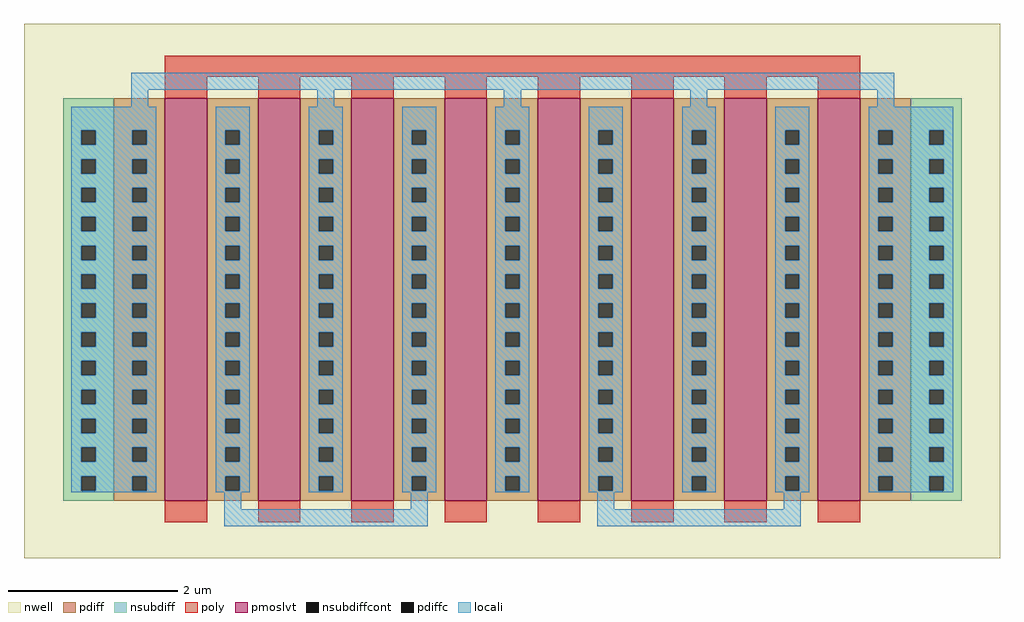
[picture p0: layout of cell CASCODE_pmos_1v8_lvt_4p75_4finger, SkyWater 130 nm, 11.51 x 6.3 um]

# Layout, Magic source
magic
tech sky130A
magscale 1 2
<< poly >>
rect -421 1107 1219 1157
<< locali >>
rect -561 127 -521 1037
rect 1319 127 1359 1037
use pmos_1v8_lvt_4p75_Lbody_4finger  pmos_1v8_lvt_4p75_Lbody_4finger_0
transform 1 0 -511 0 1 -273
box -242 245 1178 1505
use pmos_1v8_lvt_4p75_Rbody_4finger  pmos_1v8_lvt_4p75_Rbody_4finger_0
transform 1 0 369 0 1 -273
box -240 245 1180 1505
<< properties >>
string path -2.105 5.660 6.095 5.660 
<< end >>

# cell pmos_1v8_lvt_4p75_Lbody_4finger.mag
magic
tech sky130A
magscale 1 2
<< nwell >>
rect -242 245 1178 1505
<< pmoslvt >>
rect 90 380 190 1330
rect 310 380 410 1330
rect 530 380 630 1330
rect 750 380 850 1330
<< pdiff >>
rect -30 1254 90 1330
rect -30 1220 13 1254
rect 47 1220 90 1254
rect -30 1186 90 1220
rect -30 1152 13 1186
rect 47 1152 90 1186
rect -30 1118 90 1152
rect -30 1084 13 1118
rect 47 1084 90 1118
rect -30 1050 90 1084
rect -30 1016 13 1050
rect 47 1016 90 1050
rect -30 982 90 1016
rect -30 948 13 982
rect 47 948 90 982
rect -30 914 90 948
rect -30 880 13 914
rect 47 880 90 914
rect -30 846 90 880
rect -30 812 13 846
rect 47 812 90 846
rect -30 778 90 812
rect -30 744 13 778
rect 47 744 90 778
rect -30 710 90 744
rect -30 676 13 710
rect 47 676 90 710
rect -30 642 90 676
rect -30 608 13 642
rect 47 608 90 642
rect -30 574 90 608
rect -30 540 13 574
rect 47 540 90 574
rect -30 506 90 540
rect -30 472 13 506
rect 47 472 90 506
rect -30 438 90 472
rect -30 404 13 438
rect 47 404 90 438
rect -30 380 90 404
rect 190 1254 310 1330
rect 190 1220 233 1254
rect 267 1220 310 1254
rect 190 1186 310 1220
rect 190 1152 233 1186
rect 267 1152 310 1186
rect 190 1118 310 1152
rect 190 1084 233 1118
rect 267 1084 310 1118
rect 190 1050 310 1084
rect 190 1016 233 1050
rect 267 1016 310 1050
rect 190 982 310 1016
rect 190 948 233 982
rect 267 948 310 982
rect 190 914 310 948
rect 190 880 233 914
rect 267 880 310 914
rect 190 846 310 880
rect 190 812 233 846
rect 267 812 310 846
rect 190 778 310 812
rect 190 744 233 778
rect 267 744 310 778
rect 190 710 310 744
rect 190 676 233 710
rect 267 676 310 710
rect 190 642 310 676
rect 190 608 233 642
rect 267 608 310 642
rect 190 574 310 608
rect 190 540 233 574
rect 267 540 310 574
rect 190 506 310 540
rect 190 472 233 506
rect 267 472 310 506
rect 190 438 310 472
rect 190 404 233 438
rect 267 404 310 438
rect 190 380 310 404
rect 410 1254 530 1330
rect 410 1220 453 1254
rect 487 1220 530 1254
rect 410 1186 530 1220
rect 410 1152 453 1186
rect 487 1152 530 1186
rect 410 1118 530 1152
rect 410 1084 453 1118
rect 487 1084 530 1118
rect 410 1050 530 1084
rect 410 1016 453 1050
rect 487 1016 530 1050
rect 410 982 530 1016
rect 410 948 453 982
rect 487 948 530 982
rect 410 914 530 948
rect 410 880 453 914
rect 487 880 530 914
rect 410 846 530 880
rect 410 812 453 846
rect 487 812 530 846
rect 410 778 530 812
rect 410 744 453 778
rect 487 744 530 778
rect 410 710 530 744
rect 410 676 453 710
rect 487 676 530 710
rect 410 642 530 676
rect 410 608 453 642
rect 487 608 530 642
rect 410 574 530 608
rect 410 540 453 574
rect 487 540 530 574
rect 410 506 530 540
rect 410 472 453 506
rect 487 472 530 506
rect 410 438 530 472
rect 410 404 453 438
rect 487 404 530 438
rect 410 380 530 404
rect 630 1254 750 1330
rect 630 1220 673 1254
rect 707 1220 750 1254
rect 630 1186 750 1220
rect 630 1152 673 1186
rect 707 1152 750 1186
rect 630 1118 750 1152
rect 630 1084 673 1118
rect 707 1084 750 1118
rect 630 1050 750 1084
rect 630 1016 673 1050
rect 707 1016 750 1050
rect 630 982 750 1016
rect 630 948 673 982
rect 707 948 750 982
rect 630 914 750 948
rect 630 880 673 914
rect 707 880 750 914
rect 630 846 750 880
rect 630 812 673 846
rect 707 812 750 846
rect 630 778 750 812
rect 630 744 673 778
rect 707 744 750 778
rect 630 710 750 744
rect 630 676 673 710
rect 707 676 750 710
rect 630 642 750 676
rect 630 608 673 642
rect 707 608 750 642
rect 630 574 750 608
rect 630 540 673 574
rect 707 540 750 574
rect 630 506 750 540
rect 630 472 673 506
rect 707 472 750 506
rect 630 438 750 472
rect 630 404 673 438
rect 707 404 750 438
rect 630 380 750 404
rect 850 1254 970 1330
rect 850 1220 893 1254
rect 927 1220 970 1254
rect 850 1186 970 1220
rect 850 1152 893 1186
rect 927 1152 970 1186
rect 850 1118 970 1152
rect 850 1084 893 1118
rect 927 1084 970 1118
rect 850 1050 970 1084
rect 850 1016 893 1050
rect 927 1016 970 1050
rect 850 982 970 1016
rect 850 948 893 982
rect 927 948 970 982
rect 850 914 970 948
rect 850 880 893 914
rect 927 880 970 914
rect 850 846 970 880
rect 850 812 893 846
rect 927 812 970 846
rect 850 778 970 812
rect 850 744 893 778
rect 927 744 970 778
rect 850 710 970 744
rect 850 676 893 710
rect 927 676 970 710
rect 850 642 970 676
rect 850 608 893 642
rect 927 608 970 642
rect 850 574 970 608
rect 850 540 893 574
rect 927 540 970 574
rect 850 506 970 540
rect 850 472 893 506
rect 927 472 970 506
rect 850 438 970 472
rect 850 404 893 438
rect 927 404 970 438
rect 850 380 970 404
<< pdiffc >>
rect 13 1220 47 1254
rect 13 1152 47 1186
rect 13 1084 47 1118
rect 13 1016 47 1050
rect 13 948 47 982
rect 13 880 47 914
rect 13 812 47 846
rect 13 744 47 778
rect 13 676 47 710
rect 13 608 47 642
rect 13 540 47 574
rect 13 472 47 506
rect 13 404 47 438
rect 233 1220 267 1254
rect 233 1152 267 1186
rect 233 1084 267 1118
rect 233 1016 267 1050
rect 233 948 267 982
rect 233 880 267 914
rect 233 812 267 846
rect 233 744 267 778
rect 233 676 267 710
rect 233 608 267 642
rect 233 540 267 574
rect 233 472 267 506
rect 233 404 267 438
rect 453 1220 487 1254
rect 453 1152 487 1186
rect 453 1084 487 1118
rect 453 1016 487 1050
rect 453 948 487 982
rect 453 880 487 914
rect 453 812 487 846
rect 453 744 487 778
rect 453 676 487 710
rect 453 608 487 642
rect 453 540 487 574
rect 453 472 487 506
rect 453 404 487 438
rect 673 1220 707 1254
rect 673 1152 707 1186
rect 673 1084 707 1118
rect 673 1016 707 1050
rect 673 948 707 982
rect 673 880 707 914
rect 673 812 707 846
rect 673 744 707 778
rect 673 676 707 710
rect 673 608 707 642
rect 673 540 707 574
rect 673 472 707 506
rect 673 404 707 438
rect 893 1220 927 1254
rect 893 1152 927 1186
rect 893 1084 927 1118
rect 893 1016 927 1050
rect 893 948 927 982
rect 893 880 927 914
rect 893 812 927 846
rect 893 744 927 778
rect 893 676 927 710
rect 893 608 927 642
rect 893 540 927 574
rect 893 472 927 506
rect 893 404 927 438
<< nsubdiff >>
rect -150 1254 -30 1330
rect -150 1220 -107 1254
rect -73 1220 -30 1254
rect -150 1186 -30 1220
rect -150 1152 -107 1186
rect -73 1152 -30 1186
rect -150 1118 -30 1152
rect -150 1084 -107 1118
rect -73 1084 -30 1118
rect -150 1050 -30 1084
rect -150 1016 -107 1050
rect -73 1016 -30 1050
rect -150 982 -30 1016
rect -150 948 -107 982
rect -73 948 -30 982
rect -150 914 -30 948
rect -150 880 -107 914
rect -73 880 -30 914
rect -150 846 -30 880
rect -150 812 -107 846
rect -73 812 -30 846
rect -150 778 -30 812
rect -150 744 -107 778
rect -73 744 -30 778
rect -150 710 -30 744
rect -150 676 -107 710
rect -73 676 -30 710
rect -150 642 -30 676
rect -150 608 -107 642
rect -73 608 -30 642
rect -150 574 -30 608
rect -150 540 -107 574
rect -73 540 -30 574
rect -150 506 -30 540
rect -150 472 -107 506
rect -73 472 -30 506
rect -150 438 -30 472
rect -150 404 -107 438
rect -73 404 -30 438
rect -150 380 -30 404
<< nsubdiffcont >>
rect -107 1220 -73 1254
rect -107 1152 -73 1186
rect -107 1084 -73 1118
rect -107 1016 -73 1050
rect -107 948 -73 982
rect -107 880 -73 914
rect -107 812 -73 846
rect -107 744 -73 778
rect -107 676 -73 710
rect -107 608 -73 642
rect -107 540 -73 574
rect -107 472 -73 506
rect -107 404 -73 438
<< poly >>
rect 90 1330 190 1380
rect 310 1330 410 1380
rect 530 1330 630 1380
rect 750 1330 850 1380
rect 90 330 190 380
rect 310 330 410 380
rect 530 330 630 380
rect 750 330 850 380
<< locali >>
rect 11 1350 930 1390
rect 11 1310 51 1350
rect 450 1310 490 1350
rect 890 1310 930 1350
rect -130 1254 -50 1310
rect -130 1220 -107 1254
rect -73 1220 -50 1254
rect -130 1186 -50 1220
rect -130 1152 -107 1186
rect -73 1152 -50 1186
rect -130 1118 -50 1152
rect -130 1084 -107 1118
rect -73 1084 -50 1118
rect -130 1050 -50 1084
rect -130 1016 -107 1050
rect -73 1016 -50 1050
rect -130 982 -50 1016
rect -130 948 -107 982
rect -73 948 -50 982
rect -130 914 -50 948
rect -130 880 -107 914
rect -73 880 -50 914
rect -130 846 -50 880
rect -130 812 -107 846
rect -73 812 -50 846
rect -130 778 -50 812
rect -130 744 -107 778
rect -73 744 -50 778
rect -130 710 -50 744
rect -130 676 -107 710
rect -73 676 -50 710
rect -130 642 -50 676
rect -130 608 -107 642
rect -73 608 -50 642
rect -130 574 -50 608
rect -130 540 -107 574
rect -73 540 -50 574
rect -130 506 -50 540
rect -130 472 -107 506
rect -73 472 -50 506
rect -130 438 -50 472
rect -130 404 -107 438
rect -73 404 -50 438
rect -130 400 -50 404
rect -10 1254 70 1310
rect -10 1220 13 1254
rect 47 1220 70 1254
rect -10 1186 70 1220
rect -10 1152 13 1186
rect 47 1152 70 1186
rect -10 1118 70 1152
rect -10 1084 13 1118
rect 47 1084 70 1118
rect -10 1050 70 1084
rect -10 1016 13 1050
rect 47 1016 70 1050
rect -10 982 70 1016
rect -10 948 13 982
rect 47 948 70 982
rect -10 914 70 948
rect -10 880 13 914
rect 47 880 70 914
rect -10 846 70 880
rect -10 812 13 846
rect 47 812 70 846
rect -10 778 70 812
rect -10 744 13 778
rect 47 744 70 778
rect -10 710 70 744
rect -10 676 13 710
rect 47 676 70 710
rect -10 642 70 676
rect -10 608 13 642
rect 47 608 70 642
rect -10 574 70 608
rect -10 540 13 574
rect 47 540 70 574
rect -10 506 70 540
rect -10 472 13 506
rect 47 472 70 506
rect -10 438 70 472
rect -10 404 13 438
rect 47 404 70 438
rect -10 400 70 404
rect 210 1254 290 1310
rect 210 1220 233 1254
rect 267 1220 290 1254
rect 210 1186 290 1220
rect 210 1152 233 1186
rect 267 1152 290 1186
rect 210 1118 290 1152
rect 210 1084 233 1118
rect 267 1084 290 1118
rect 210 1050 290 1084
rect 210 1016 233 1050
rect 267 1016 290 1050
rect 210 982 290 1016
rect 210 948 233 982
rect 267 948 290 982
rect 210 914 290 948
rect 210 880 233 914
rect 267 880 290 914
rect 210 846 290 880
rect 210 812 233 846
rect 267 812 290 846
rect 210 778 290 812
rect 210 744 233 778
rect 267 744 290 778
rect 210 710 290 744
rect 210 676 233 710
rect 267 676 290 710
rect 210 642 290 676
rect 210 608 233 642
rect 267 608 290 642
rect 210 574 290 608
rect 210 540 233 574
rect 267 540 290 574
rect 210 506 290 540
rect 210 472 233 506
rect 267 472 290 506
rect 210 438 290 472
rect 210 404 233 438
rect 267 404 290 438
rect 210 400 290 404
rect 430 1254 510 1310
rect 430 1220 453 1254
rect 487 1220 510 1254
rect 430 1186 510 1220
rect 430 1152 453 1186
rect 487 1152 510 1186
rect 430 1118 510 1152
rect 430 1084 453 1118
rect 487 1084 510 1118
rect 430 1050 510 1084
rect 430 1016 453 1050
rect 487 1016 510 1050
rect 430 982 510 1016
rect 430 948 453 982
rect 487 948 510 982
rect 430 914 510 948
rect 430 880 453 914
rect 487 880 510 914
rect 430 846 510 880
rect 430 812 453 846
rect 487 812 510 846
rect 430 778 510 812
rect 430 744 453 778
rect 487 744 510 778
rect 430 710 510 744
rect 430 676 453 710
rect 487 676 510 710
rect 430 642 510 676
rect 430 608 453 642
rect 487 608 510 642
rect 430 574 510 608
rect 430 540 453 574
rect 487 540 510 574
rect 430 506 510 540
rect 430 472 453 506
rect 487 472 510 506
rect 430 438 510 472
rect 430 404 453 438
rect 487 404 510 438
rect 430 400 510 404
rect 650 1254 730 1310
rect 650 1220 673 1254
rect 707 1220 730 1254
rect 650 1186 730 1220
rect 650 1152 673 1186
rect 707 1152 730 1186
rect 650 1118 730 1152
rect 650 1084 673 1118
rect 707 1084 730 1118
rect 650 1050 730 1084
rect 650 1016 673 1050
rect 707 1016 730 1050
rect 650 982 730 1016
rect 650 948 673 982
rect 707 948 730 982
rect 650 914 730 948
rect 650 880 673 914
rect 707 880 730 914
rect 650 846 730 880
rect 650 812 673 846
rect 707 812 730 846
rect 650 778 730 812
rect 650 744 673 778
rect 707 744 730 778
rect 650 710 730 744
rect 650 676 673 710
rect 707 676 730 710
rect 650 642 730 676
rect 650 608 673 642
rect 707 608 730 642
rect 650 574 730 608
rect 650 540 673 574
rect 707 540 730 574
rect 650 506 730 540
rect 650 472 673 506
rect 707 472 730 506
rect 650 438 730 472
rect 650 404 673 438
rect 707 404 730 438
rect 650 400 730 404
rect 870 1254 950 1310
rect 870 1220 893 1254
rect 927 1220 950 1254
rect 870 1186 950 1220
rect 870 1152 893 1186
rect 927 1152 950 1186
rect 870 1118 950 1152
rect 870 1084 893 1118
rect 927 1084 950 1118
rect 870 1050 950 1084
rect 870 1016 893 1050
rect 927 1016 950 1050
rect 870 982 950 1016
rect 870 948 893 982
rect 927 948 950 982
rect 870 914 950 948
rect 870 880 893 914
rect 927 880 950 914
rect 870 846 950 880
rect 870 812 893 846
rect 927 812 950 846
rect 870 778 950 812
rect 870 744 893 778
rect 927 744 950 778
rect 870 710 950 744
rect 870 676 893 710
rect 927 676 950 710
rect 870 642 950 676
rect 870 608 893 642
rect 927 608 950 642
rect 870 574 950 608
rect 870 540 893 574
rect 927 540 950 574
rect 870 506 950 540
rect 870 472 893 506
rect 927 472 950 506
rect 870 438 950 472
rect 870 404 893 438
rect 927 404 950 438
rect 870 400 950 404
rect 230 360 270 400
rect 670 360 710 400
rect 230 320 710 360
<< properties >>
string path 2.350 6.550 2.350 6.810 
<< end >>

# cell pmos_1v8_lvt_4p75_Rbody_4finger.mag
magic
tech sky130A
magscale 1 2
<< nwell >>
rect -240 245 1180 1505
<< pmoslvt >>
rect 90 380 190 1330
rect 310 380 410 1330
rect 530 380 630 1330
rect 750 380 850 1330
<< pdiff >>
rect -30 1254 90 1330
rect -30 1220 13 1254
rect 47 1220 90 1254
rect -30 1186 90 1220
rect -30 1152 13 1186
rect 47 1152 90 1186
rect -30 1118 90 1152
rect -30 1084 13 1118
rect 47 1084 90 1118
rect -30 1050 90 1084
rect -30 1016 13 1050
rect 47 1016 90 1050
rect -30 982 90 1016
rect -30 948 13 982
rect 47 948 90 982
rect -30 914 90 948
rect -30 880 13 914
rect 47 880 90 914
rect -30 846 90 880
rect -30 812 13 846
rect 47 812 90 846
rect -30 778 90 812
rect -30 744 13 778
rect 47 744 90 778
rect -30 710 90 744
rect -30 676 13 710
rect 47 676 90 710
rect -30 642 90 676
rect -30 608 13 642
rect 47 608 90 642
rect -30 574 90 608
rect -30 540 13 574
rect 47 540 90 574
rect -30 506 90 540
rect -30 472 13 506
rect 47 472 90 506
rect -30 438 90 472
rect -30 404 13 438
rect 47 404 90 438
rect -30 380 90 404
rect 190 1254 310 1330
rect 190 1220 233 1254
rect 267 1220 310 1254
rect 190 1186 310 1220
rect 190 1152 233 1186
rect 267 1152 310 1186
rect 190 1118 310 1152
rect 190 1084 233 1118
rect 267 1084 310 1118
rect 190 1050 310 1084
rect 190 1016 233 1050
rect 267 1016 310 1050
rect 190 982 310 1016
rect 190 948 233 982
rect 267 948 310 982
rect 190 914 310 948
rect 190 880 233 914
rect 267 880 310 914
rect 190 846 310 880
rect 190 812 233 846
rect 267 812 310 846
rect 190 778 310 812
rect 190 744 233 778
rect 267 744 310 778
rect 190 710 310 744
rect 190 676 233 710
rect 267 676 310 710
rect 190 642 310 676
rect 190 608 233 642
rect 267 608 310 642
rect 190 574 310 608
rect 190 540 233 574
rect 267 540 310 574
rect 190 506 310 540
rect 190 472 233 506
rect 267 472 310 506
rect 190 438 310 472
rect 190 404 233 438
rect 267 404 310 438
rect 190 380 310 404
rect 410 1254 530 1330
rect 410 1220 453 1254
rect 487 1220 530 1254
rect 410 1186 530 1220
rect 410 1152 453 1186
rect 487 1152 530 1186
rect 410 1118 530 1152
rect 410 1084 453 1118
rect 487 1084 530 1118
rect 410 1050 530 1084
rect 410 1016 453 1050
rect 487 1016 530 1050
rect 410 982 530 1016
rect 410 948 453 982
rect 487 948 530 982
rect 410 914 530 948
rect 410 880 453 914
rect 487 880 530 914
rect 410 846 530 880
rect 410 812 453 846
rect 487 812 530 846
rect 410 778 530 812
rect 410 744 453 778
rect 487 744 530 778
rect 410 710 530 744
rect 410 676 453 710
rect 487 676 530 710
rect 410 642 530 676
rect 410 608 453 642
rect 487 608 530 642
rect 410 574 530 608
rect 410 540 453 574
rect 487 540 530 574
rect 410 506 530 540
rect 410 472 453 506
rect 487 472 530 506
rect 410 438 530 472
rect 410 404 453 438
rect 487 404 530 438
rect 410 380 530 404
rect 630 1254 750 1330
rect 630 1220 673 1254
rect 707 1220 750 1254
rect 630 1186 750 1220
rect 630 1152 673 1186
rect 707 1152 750 1186
rect 630 1118 750 1152
rect 630 1084 673 1118
rect 707 1084 750 1118
rect 630 1050 750 1084
rect 630 1016 673 1050
rect 707 1016 750 1050
rect 630 982 750 1016
rect 630 948 673 982
rect 707 948 750 982
rect 630 914 750 948
rect 630 880 673 914
rect 707 880 750 914
rect 630 846 750 880
rect 630 812 673 846
rect 707 812 750 846
rect 630 778 750 812
rect 630 744 673 778
rect 707 744 750 778
rect 630 710 750 744
rect 630 676 673 710
rect 707 676 750 710
rect 630 642 750 676
rect 630 608 673 642
rect 707 608 750 642
rect 630 574 750 608
rect 630 540 673 574
rect 707 540 750 574
rect 630 506 750 540
rect 630 472 673 506
rect 707 472 750 506
rect 630 438 750 472
rect 630 404 673 438
rect 707 404 750 438
rect 630 380 750 404
rect 850 1254 970 1330
rect 850 1220 893 1254
rect 927 1220 970 1254
rect 850 1186 970 1220
rect 850 1152 893 1186
rect 927 1152 970 1186
rect 850 1118 970 1152
rect 850 1084 893 1118
rect 927 1084 970 1118
rect 850 1050 970 1084
rect 850 1016 893 1050
rect 927 1016 970 1050
rect 850 982 970 1016
rect 850 948 893 982
rect 927 948 970 982
rect 850 914 970 948
rect 850 880 893 914
rect 927 880 970 914
rect 850 846 970 880
rect 850 812 893 846
rect 927 812 970 846
rect 850 778 970 812
rect 850 744 893 778
rect 927 744 970 778
rect 850 710 970 744
rect 850 676 893 710
rect 927 676 970 710
rect 850 642 970 676
rect 850 608 893 642
rect 927 608 970 642
rect 850 574 970 608
rect 850 540 893 574
rect 927 540 970 574
rect 850 506 970 540
rect 850 472 893 506
rect 927 472 970 506
rect 850 438 970 472
rect 850 404 893 438
rect 927 404 970 438
rect 850 380 970 404
<< pdiffc >>
rect 13 1220 47 1254
rect 13 1152 47 1186
rect 13 1084 47 1118
rect 13 1016 47 1050
rect 13 948 47 982
rect 13 880 47 914
rect 13 812 47 846
rect 13 744 47 778
rect 13 676 47 710
rect 13 608 47 642
rect 13 540 47 574
rect 13 472 47 506
rect 13 404 47 438
rect 233 1220 267 1254
rect 233 1152 267 1186
rect 233 1084 267 1118
rect 233 1016 267 1050
rect 233 948 267 982
rect 233 880 267 914
rect 233 812 267 846
rect 233 744 267 778
rect 233 676 267 710
rect 233 608 267 642
rect 233 540 267 574
rect 233 472 267 506
rect 233 404 267 438
rect 453 1220 487 1254
rect 453 1152 487 1186
rect 453 1084 487 1118
rect 453 1016 487 1050
rect 453 948 487 982
rect 453 880 487 914
rect 453 812 487 846
rect 453 744 487 778
rect 453 676 487 710
rect 453 608 487 642
rect 453 540 487 574
rect 453 472 487 506
rect 453 404 487 438
rect 673 1220 707 1254
rect 673 1152 707 1186
rect 673 1084 707 1118
rect 673 1016 707 1050
rect 673 948 707 982
rect 673 880 707 914
rect 673 812 707 846
rect 673 744 707 778
rect 673 676 707 710
rect 673 608 707 642
rect 673 540 707 574
rect 673 472 707 506
rect 673 404 707 438
rect 893 1220 927 1254
rect 893 1152 927 1186
rect 893 1084 927 1118
rect 893 1016 927 1050
rect 893 948 927 982
rect 893 880 927 914
rect 893 812 927 846
rect 893 744 927 778
rect 893 676 927 710
rect 893 608 927 642
rect 893 540 927 574
rect 893 472 927 506
rect 893 404 927 438
<< nsubdiff >>
rect 970 1254 1090 1330
rect 970 1220 1013 1254
rect 1047 1220 1090 1254
rect 970 1186 1090 1220
rect 970 1152 1013 1186
rect 1047 1152 1090 1186
rect 970 1118 1090 1152
rect 970 1084 1013 1118
rect 1047 1084 1090 1118
rect 970 1050 1090 1084
rect 970 1016 1013 1050
rect 1047 1016 1090 1050
rect 970 982 1090 1016
rect 970 948 1013 982
rect 1047 948 1090 982
rect 970 914 1090 948
rect 970 880 1013 914
rect 1047 880 1090 914
rect 970 846 1090 880
rect 970 812 1013 846
rect 1047 812 1090 846
rect 970 778 1090 812
rect 970 744 1013 778
rect 1047 744 1090 778
rect 970 710 1090 744
rect 970 676 1013 710
rect 1047 676 1090 710
rect 970 642 1090 676
rect 970 608 1013 642
rect 1047 608 1090 642
rect 970 574 1090 608
rect 970 540 1013 574
rect 1047 540 1090 574
rect 970 506 1090 540
rect 970 472 1013 506
rect 1047 472 1090 506
rect 970 438 1090 472
rect 970 404 1013 438
rect 1047 404 1090 438
rect 970 380 1090 404
<< nsubdiffcont >>
rect 1013 1220 1047 1254
rect 1013 1152 1047 1186
rect 1013 1084 1047 1118
rect 1013 1016 1047 1050
rect 1013 948 1047 982
rect 1013 880 1047 914
rect 1013 812 1047 846
rect 1013 744 1047 778
rect 1013 676 1047 710
rect 1013 608 1047 642
rect 1013 540 1047 574
rect 1013 472 1047 506
rect 1013 404 1047 438
<< poly >>
rect 90 1330 190 1380
rect 310 1330 410 1380
rect 530 1330 630 1380
rect 750 1330 850 1380
rect 90 330 190 380
rect 310 330 410 380
rect 530 330 630 380
rect 750 330 850 380
<< locali >>
rect 11 1350 930 1390
rect 11 1310 51 1350
rect 450 1310 490 1350
rect 890 1310 930 1350
rect -10 1254 70 1310
rect -10 1220 13 1254
rect 47 1220 70 1254
rect -10 1186 70 1220
rect -10 1152 13 1186
rect 47 1152 70 1186
rect -10 1118 70 1152
rect -10 1084 13 1118
rect 47 1084 70 1118
rect -10 1050 70 1084
rect -10 1016 13 1050
rect 47 1016 70 1050
rect -10 982 70 1016
rect -10 948 13 982
rect 47 948 70 982
rect -10 914 70 948
rect -10 880 13 914
rect 47 880 70 914
rect -10 846 70 880
rect -10 812 13 846
rect 47 812 70 846
rect -10 778 70 812
rect -10 744 13 778
rect 47 744 70 778
rect -10 710 70 744
rect -10 676 13 710
rect 47 676 70 710
rect -10 642 70 676
rect -10 608 13 642
rect 47 608 70 642
rect -10 574 70 608
rect -10 540 13 574
rect 47 540 70 574
rect -10 506 70 540
rect -10 472 13 506
rect 47 472 70 506
rect -10 438 70 472
rect -10 404 13 438
rect 47 404 70 438
rect -10 400 70 404
rect 210 1254 290 1310
rect 210 1220 233 1254
rect 267 1220 290 1254
rect 210 1186 290 1220
rect 210 1152 233 1186
rect 267 1152 290 1186
rect 210 1118 290 1152
rect 210 1084 233 1118
rect 267 1084 290 1118
rect 210 1050 290 1084
rect 210 1016 233 1050
rect 267 1016 290 1050
rect 210 982 290 1016
rect 210 948 233 982
rect 267 948 290 982
rect 210 914 290 948
rect 210 880 233 914
rect 267 880 290 914
rect 210 846 290 880
rect 210 812 233 846
rect 267 812 290 846
rect 210 778 290 812
rect 210 744 233 778
rect 267 744 290 778
rect 210 710 290 744
rect 210 676 233 710
rect 267 676 290 710
rect 210 642 290 676
rect 210 608 233 642
rect 267 608 290 642
rect 210 574 290 608
rect 210 540 233 574
rect 267 540 290 574
rect 210 506 290 540
rect 210 472 233 506
rect 267 472 290 506
rect 210 438 290 472
rect 210 404 233 438
rect 267 404 290 438
rect 210 400 290 404
rect 430 1254 510 1310
rect 430 1220 453 1254
rect 487 1220 510 1254
rect 430 1186 510 1220
rect 430 1152 453 1186
rect 487 1152 510 1186
rect 430 1118 510 1152
rect 430 1084 453 1118
rect 487 1084 510 1118
rect 430 1050 510 1084
rect 430 1016 453 1050
rect 487 1016 510 1050
rect 430 982 510 1016
rect 430 948 453 982
rect 487 948 510 982
rect 430 914 510 948
rect 430 880 453 914
rect 487 880 510 914
rect 430 846 510 880
rect 430 812 453 846
rect 487 812 510 846
rect 430 778 510 812
rect 430 744 453 778
rect 487 744 510 778
rect 430 710 510 744
rect 430 676 453 710
rect 487 676 510 710
rect 430 642 510 676
rect 430 608 453 642
rect 487 608 510 642
rect 430 574 510 608
rect 430 540 453 574
rect 487 540 510 574
rect 430 506 510 540
rect 430 472 453 506
rect 487 472 510 506
rect 430 438 510 472
rect 430 404 453 438
rect 487 404 510 438
rect 430 400 510 404
rect 650 1254 730 1310
rect 650 1220 673 1254
rect 707 1220 730 1254
rect 650 1186 730 1220
rect 650 1152 673 1186
rect 707 1152 730 1186
rect 650 1118 730 1152
rect 650 1084 673 1118
rect 707 1084 730 1118
rect 650 1050 730 1084
rect 650 1016 673 1050
rect 707 1016 730 1050
rect 650 982 730 1016
rect 650 948 673 982
rect 707 948 730 982
rect 650 914 730 948
rect 650 880 673 914
rect 707 880 730 914
rect 650 846 730 880
rect 650 812 673 846
rect 707 812 730 846
rect 650 778 730 812
rect 650 744 673 778
rect 707 744 730 778
rect 650 710 730 744
rect 650 676 673 710
rect 707 676 730 710
rect 650 642 730 676
rect 650 608 673 642
rect 707 608 730 642
rect 650 574 730 608
rect 650 540 673 574
rect 707 540 730 574
rect 650 506 730 540
rect 650 472 673 506
rect 707 472 730 506
rect 650 438 730 472
rect 650 404 673 438
rect 707 404 730 438
rect 650 400 730 404
rect 870 1254 950 1310
rect 870 1220 893 1254
rect 927 1220 950 1254
rect 870 1186 950 1220
rect 870 1152 893 1186
rect 927 1152 950 1186
rect 870 1118 950 1152
rect 870 1084 893 1118
rect 927 1084 950 1118
rect 870 1050 950 1084
rect 870 1016 893 1050
rect 927 1016 950 1050
rect 870 982 950 1016
rect 870 948 893 982
rect 927 948 950 982
rect 870 914 950 948
rect 870 880 893 914
rect 927 880 950 914
rect 870 846 950 880
rect 870 812 893 846
rect 927 812 950 846
rect 870 778 950 812
rect 870 744 893 778
rect 927 744 950 778
rect 870 710 950 744
rect 870 676 893 710
rect 927 676 950 710
rect 870 642 950 676
rect 870 608 893 642
rect 927 608 950 642
rect 870 574 950 608
rect 870 540 893 574
rect 927 540 950 574
rect 870 506 950 540
rect 870 472 893 506
rect 927 472 950 506
rect 870 438 950 472
rect 870 404 893 438
rect 927 404 950 438
rect 870 400 950 404
rect 990 1254 1070 1310
rect 990 1220 1013 1254
rect 1047 1220 1070 1254
rect 990 1186 1070 1220
rect 990 1152 1013 1186
rect 1047 1152 1070 1186
rect 990 1118 1070 1152
rect 990 1084 1013 1118
rect 1047 1084 1070 1118
rect 990 1050 1070 1084
rect 990 1016 1013 1050
rect 1047 1016 1070 1050
rect 990 982 1070 1016
rect 990 948 1013 982
rect 1047 948 1070 982
rect 990 914 1070 948
rect 990 880 1013 914
rect 1047 880 1070 914
rect 990 846 1070 880
rect 990 812 1013 846
rect 1047 812 1070 846
rect 990 778 1070 812
rect 990 744 1013 778
rect 1047 744 1070 778
rect 990 710 1070 744
rect 990 676 1013 710
rect 1047 676 1070 710
rect 990 642 1070 676
rect 990 608 1013 642
rect 1047 608 1070 642
rect 990 574 1070 608
rect 990 540 1013 574
rect 1047 540 1070 574
rect 990 506 1070 540
rect 990 472 1013 506
rect 1047 472 1070 506
rect 990 438 1070 472
rect 990 404 1013 438
rect 1047 404 1070 438
rect 990 400 1070 404
rect 230 360 270 400
rect 670 360 710 400
rect 230 320 710 360
<< properties >>
string path 2.350 6.550 2.350 6.810 
<< end >>
